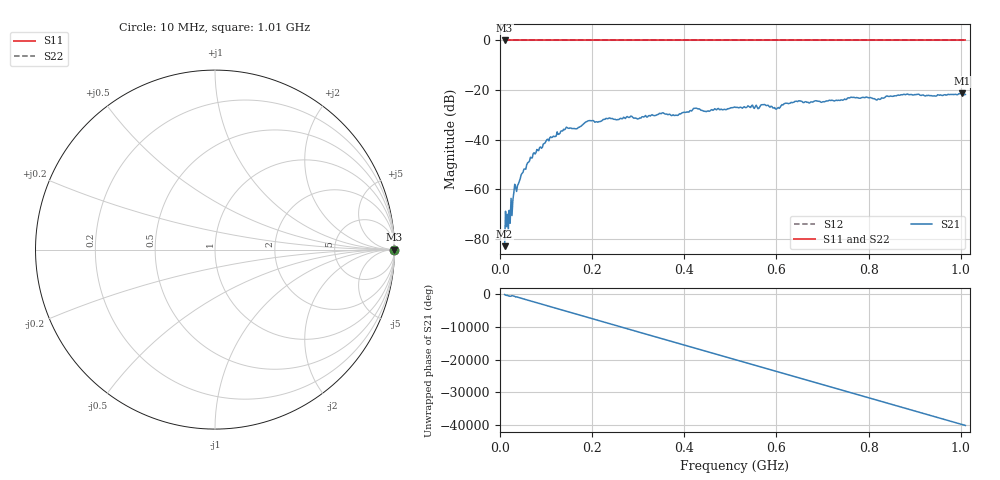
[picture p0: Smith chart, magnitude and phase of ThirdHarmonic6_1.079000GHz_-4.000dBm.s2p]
! 8/16/2025 9:52:59 AM
! C:\ANRITSUVNA\TEMP\TEMP.S2P
! CHANNEL.1
! TR.MEASUREMENT
! RAW.DATA
! RF.CORRECTION.OFF
! AVERAGING.OFF
! IF.BANDWIDTH: 5KHZ
! SWEEPTYPE:  FREQ.SWEEP(Linear)
! Reference Plane Port Info
! PORT:  PORT1  PORT2
! DISTANCE:  0  m  0  m
! TIME:  0  s  0  s
! PHASE.OFFSET:  0  deg.  0  deg.
! LOSS:  0  dB  0  dB
! REF.LOSS:  0  dB  0  dB
! REF.FREQ:  0  Hz  0  Hz
! Power Info
! POWER:  -20  dBm  -20  dBm
! EFF.POWER:  -20  dBm  -20  dBm
! SOURCE.ATTEN:  0  dB  0  dB
! TEST.ATTEN:  0  dB  0  dB
# GHZ S RI R 50.0
! FREQ.GHZ  S11RE  S11IM  S21RE  S21IM  S12RE  S12IM  S22RE  S22IM
!; PortSelection: Port_12
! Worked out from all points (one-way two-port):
!   501 points, 10 MHz to 1.01 GHz, reference 50 ohm
!   highest |S21| = -21.33 dB at 1.002 GHz (marker M1); lowest = -83.1 dB at 10 MHz (marker M2)
!   lowest |S11| = 0.0 dB at 10 MHz (marker M3)
!   |S11| at or under -10 dB: nowhere
!   |S22| runs from 0.0 to 0.0 dB; largest |S21 - S12| = 1.1
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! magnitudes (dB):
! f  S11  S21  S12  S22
! 10 MHz  0.0  -83.1  0.0  0.0
! 16 MHz  0.0  -70.2  0.0  0.0
! 18 MHz  0.0  -76.8  0.0  0.0
! 20 MHz  0.0  -68.6  0.0  0.0
! 22 MHz  0.0  -73.8  0.0  0.0
! 28 MHz  0.0  -64.3  0.0  0.0
! 34 MHz  0.0  -59.4  0.0  0.0
! 70 MHz  0.0  -47.4  0.0  0.0
! 112 MHz  0.0  -39.2  0.0  0.0
! 142 MHz  0.0  -35.7  0.0  0.0
! 178 MHz  0.0  -34.3  0.0  0.0
! 194 MHz  0.0  -32.3  0.0  0.0
! 344 MHz  0.0  -29.8  0.0  0.0
! 382 MHz  0.0  -30.1  0.0  0.0
! 510 MHz  0.0  -26.9  0.0  0.0
! 572 MHz  0.0  -25.9  0.0  0.0
! 602 MHz  0.0  -27.3  0.0  0.0
! 644 MHz  0.0  -24.5  0.0  0.0
! 678 MHz  0.0  -24.9  0.0  0.0
! 844 MHz  0.0  -22.6  0.0  0.0
! 1.002 GHz  0.0  -21.3  0.0  0.0
! 1.01 GHz  0.0  -21.8  0.0  0.0
